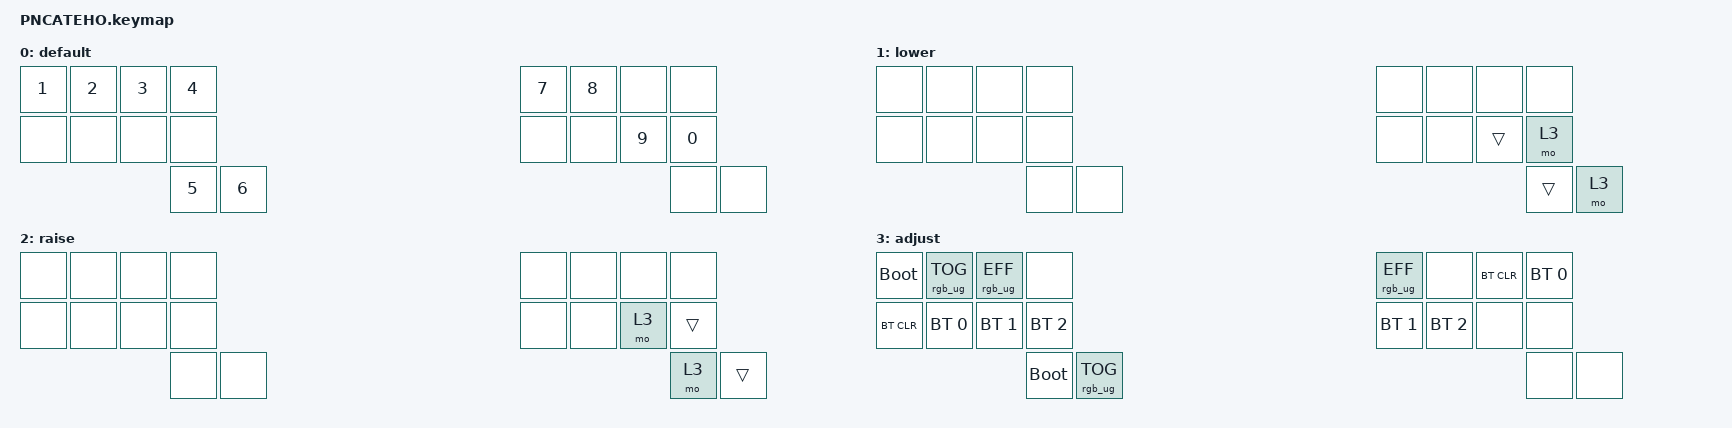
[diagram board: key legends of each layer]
/*
 * Copyright (c) 2020 The ZMK Contributors
 *
 * SPDX-License-Identifier: MIT
 */

#include <behaviors.dtsi>
#include <dt-bindings/zmk/bt.h>
#include <dt-bindings/zmk/rgb.h>

&mt { quick_tap_ms = <200>; };

/ {
    keymap {
        compatible = "zmk,keymap";

        default_layer {
            label = "default";
            bindings = <
&kp N1 &kp N2  &kp N3 &kp N4
&none  &none   &none  &none 
&kp N5 &kp N6  &kp N7 &kp N8
&none  &none   &none  &none 
                      &kp N9  &kp N0
                      &none   &none 
            >;
        };

        lower_layer {
            label = "lower";
            bindings = <
&none  &none  &none  &none
&none  &none  &none  &none
&none  &none  &none  &none
&none  &none  &none  &none
                     &trans  &mo 3
                     &trans  &mo 3
            >;
        };

        raise_layer {
            label = "raise";
            bindings = <
&none  &none  &none  &none
&none  &none  &none  &none
&none  &none  &none  &none
&none  &none  &none  &none
                     &mo 3  &trans
                     &mo 3  &trans
            >;
        };

        adjust_layer {
            label = "adjust";
            bindings = <
&bootloader  &rgb_ug RGB_TOG  &rgb_ug RGB_EFF  &none
&bt BT_CLR   &bt BT_SEL 0     &bt BT_SEL 1     &bt BT_SEL 2
&bootloader  &rgb_ug RGB_TOG  &rgb_ug RGB_EFF  &none
&bt BT_CLR   &bt BT_SEL 0     &bt BT_SEL 1     &bt BT_SEL 2
                                               &none         &none
                                               &none         &none
            >;
        };
    };

    combos {
        compatible = "zmk,combos";

        combo_n1 {
            timeout-ms = <100>;
            key-positions = <0 4>;
            bindings = <&kp EXCL>;
            layers = <0>;
        };
        combo_n2 {
            timeout-ms = <100>;
            key-positions = <1 5>;
            bindings = <&kp AT>;
            layers = <0>;
        };
        combo_n3 {
            timeout-ms = <100>;
            key-positions = <2 6>;
            bindings = <&kp HASH>;
            layers = <0>;
        };
        combo_n4 {
            timeout-ms = <100>;
            key-positions = <3 7>;
            bindings = <&kp DLLR>;
            layers = <0>;
        };

        combo_n5 {
            timeout-ms = <100>;
            key-positions = <8 12>;
            bindings = <&kp PRCNT>;
            layers = <0>;    
        };
        combo_n6 {
            timeout-ms = <100>;
            key-positions = <9 13>;
            bindings = <&kp PRCNT>;
            layers = <0>;
        };
        combo_n7b {
            timeout-ms = <100>;
            key-positions = <10 14>;
            bindings = <&kp AMPS>;
            layers = <0>;
        };
        combo_n8b {
            timeout-ms = <100>;
            key-positions = <11 15>;
            bindings = <&kp STAR>;
            layers = <0>;
        };

        combo_n9 {
            timeout-ms = <100>;
            key-positions = <16 18>;
            bindings = <&kp LPAR>;
            layers = <0>;
        };
        combo_n0 {
            timeout-ms = <100>;
            key-positions = <17 19>;
            bindings = <&kp RPAR>;
            layers = <0>;
        };
    };
};
